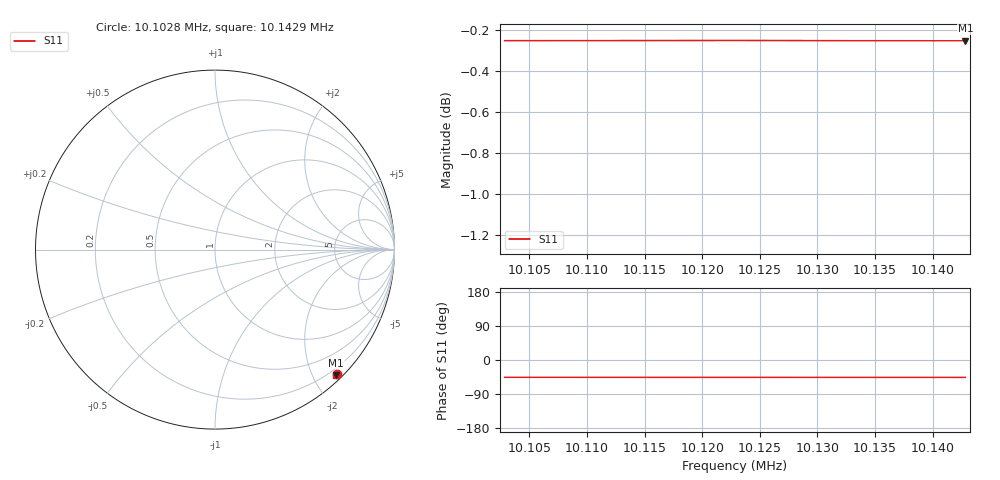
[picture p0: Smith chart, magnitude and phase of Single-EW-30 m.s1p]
# HZ S RI R 50
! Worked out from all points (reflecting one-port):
!   5 points, 10.1028 MHz to 10.1429 MHz, reference 50 ohm
!   lowest |S11| = -0.3 dB at 10.1429 MHz (marker M1), VSWR 68.32, Z = 4.8 - j118 ohm
!   phase of S11 starts at -46 deg and turns -0 deg over the sweep
1.010284e7  0.6791 -0.6944
1.011284e7  0.6781 -0.6954
1.012285e7  0.6772 -0.6963
1.013285e7  0.6762 -0.6971
1.014286e7  0.6752 -0.698
